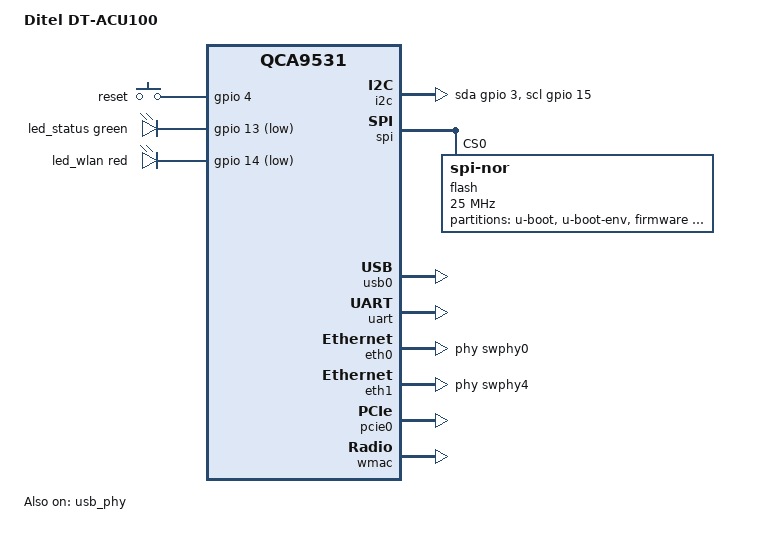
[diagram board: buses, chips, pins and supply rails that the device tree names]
// SPDX-License-Identifier: GPL-2.0-or-later OR MIT

#include "qca953x.dtsi"

#include <dt-bindings/gpio/gpio.h>
#include <dt-bindings/input/input.h>
#include <dt-bindings/leds/common.h>

/ {
	compatible = "ditel,dt-acu100", "qca,qca9531";
	model = "Ditel DT-ACU100";

	aliases {
		led-boot = &led_status;
		led-failsafe = &led_status;
		led-running = &led_status;
		led-upgrade = &led_status;
		label-mac-device = &eth1;
		serial0 = &uart;
	};

	keys {
		compatible = "gpio-keys";

		reset {
			label = "reset";
			linux,code = <KEY_RESTART>;
			gpios = <&gpio 4 GPIO_ACTIVE_HIGH>;
			debounce-interval = <60>;
		};
	};

	leds {
		compatible = "gpio-leds";

		led_status: status {
			function = LED_FUNCTION_STATUS;
			color = <LED_COLOR_ID_GREEN>;
			gpios = <&gpio 13 GPIO_ACTIVE_LOW>;
		};

		led_wlan: wlan {
			function = LED_FUNCTION_WLAN;
			color = <LED_COLOR_ID_RED>;
			gpios = <&gpio 14 GPIO_ACTIVE_LOW>;
			linux,default-trigger = "phy0tpt";
		};
	};

	i2c: i2c {
		compatible = "i2c-gpio";

		sda-gpios = <&gpio 3 (GPIO_ACTIVE_HIGH|GPIO_OPEN_DRAIN)>;
		scl-gpios = <&gpio 15 (GPIO_ACTIVE_HIGH|GPIO_OPEN_DRAIN)>;
	};
};

&spi {
	status = "okay";

	flash@0 {
		compatible = "jedec,spi-nor";
		reg = <0>;
		spi-max-frequency = <25000000>;

		partitions {
			compatible = "fixed-partitions";
			#address-cells = <1>;
			#size-cells = <1>;

			partition@0 {
				label = "u-boot";
				reg = <0x000000 0x040000>;
				read-only;
			};

			partition@40000 {
				label = "u-boot-env";
				reg = <0x040000 0x010000>;
			};

			firmware: partition@50000 {
				label = "firmware";
				reg = <0x050000 0xf90000>;
				compatible = "denx,uimage";
			};

			ditel: partition@fe0000 {
				label = "ditel";
				reg = <0xfe0000 0x010000>;
				read-only;
			};

			art: partition@ff0000 {
				label = "art";
				reg = <0xff0000 0x010000>;
				read-only;

				nvmem-layout {
					compatible = "fixed-layout";
					#address-cells = <1>;
					#size-cells = <1>;

					macaddr_art_0: macaddr@0 {
						reg = <0x0 0x6>;
					};

					macaddr_art_6: macaddr@6 {
						reg = <0x6 0x6>;
					};

					cal_art_1000: calibration@1000 {
						reg = <0x1000 0x440>;
					};

				};
			};
		};
	};
};

&usb0 {
	status = "okay";
};

&usb_phy {
	status = "okay";
};

&uart {
	status = "okay";
};

&eth0 {
	status = "okay";

	phy-handle = <&swphy0>;

	nvmem-cells = <&macaddr_art_6>;
	nvmem-cell-names = "mac-address";
};

&eth1 {
	phy-handle = <&swphy4>;

	nvmem-cells = <&macaddr_art_0>;
	nvmem-cell-names = "mac-address";

	gmac-config {
		device = <&gmac>;
		switch-phy-swap = <1>;
	};
};

&pcie0 {
	status = "okay";
};

&wmac {
	status = "okay";

	nvmem-cells = <&cal_art_1000>;
	nvmem-cell-names = "calibration";
};

